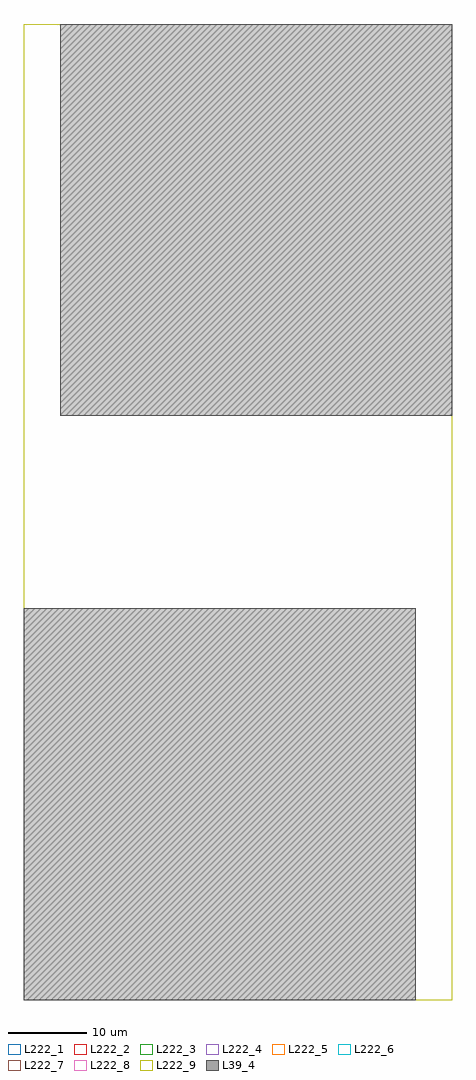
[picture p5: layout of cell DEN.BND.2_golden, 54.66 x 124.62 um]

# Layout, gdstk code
import gdstk
lib = gdstk.Library(unit=1e-6, precision=1e-09)
def R(c, l, rs):  # rectangles x0, y0, x1, y1
    for r in rs: c.add(gdstk.rectangle(r[:2], r[2:], *l))
L39_4 = (39, 4)
L222_1 = (222, 1)
L222_2 = (222, 2)
L222_3 = (222, 3)
L222_4 = (222, 4)
L222_5 = (222, 5)
L222_6 = (222, 6)
L222_7 = (222, 7)
L222_8 = (222, 8)
L222_9 = (222, 9)

den_bnd_2_golden = lib.new_cell('DEN.BND.2_golden')
R(den_bnd_2_golden, L39_4, [(0,0,50,50), (4.66,74.62,54.66,124.62)])
R(den_bnd_2_golden, L222_1, [(0,0,54.66,124.62)])
R(den_bnd_2_golden, L222_2, [(0,0,54.66,124.62)])
R(den_bnd_2_golden, L222_3, [(0,0,54.66,124.62)])
R(den_bnd_2_golden, L222_4, [(0,0,54.66,124.62)])
R(den_bnd_2_golden, L222_5, [(0,0,54.66,124.62)])
R(den_bnd_2_golden, L222_6, [(0,0,54.66,124.62)])
R(den_bnd_2_golden, L222_7, [(0,0,54.66,124.62)])
R(den_bnd_2_golden, L222_8, [(0,0,54.66,124.62)])
R(den_bnd_2_golden, L222_9, [(0,0,54.66,124.62)])

lib.write_gds('DEN.BND.2_golden.gds')
